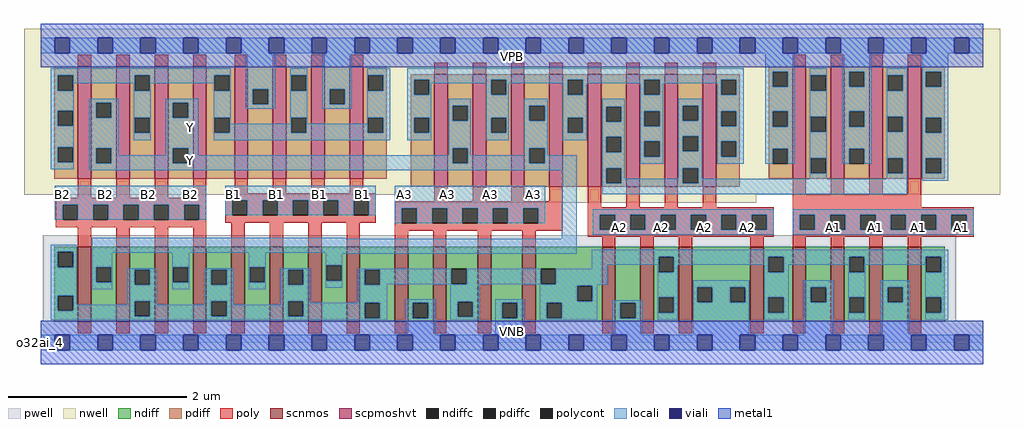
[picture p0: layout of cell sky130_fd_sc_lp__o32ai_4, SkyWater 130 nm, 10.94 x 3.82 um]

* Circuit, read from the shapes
.subckt sky130_fd_sc_lp__o32ai_4 A1 A2 A3 B1 B2 VGND VNB VPB VPWR Y
XM1 Y B2 n1 VNB sky130_fd_pr__nfet_01v8 w=0.84 l=0.15 m=4
XM2 Y B1 n1 VNB sky130_fd_pr__nfet_01v8 w=0.84 l=0.15 m=4
XM3 VGND A3 n1 VNB sky130_fd_pr__nfet_01v8 w=0.84 l=0.15 m=4
XM4 VGND A2 n1 VNB sky130_fd_pr__nfet_01v8 w=0.84 l=0.15 m=4
XM5 VGND A1 n1 VNB sky130_fd_pr__nfet_01v8 w=0.84 l=0.15 m=4
XM6 Y B2 n2 VPB sky130_fd_pr__pfet_01v8_hvt w=1.26 l=0.15 m=4
XM7 VPWR B1 n2 VPB sky130_fd_pr__pfet_01v8_hvt w=1.26 l=0.15 m=4
XM8 Y A3 n3 VPB sky130_fd_pr__pfet_01v8_hvt w=1.26 l=0.15 m=4
XM9 n4 A2 n3 VPB sky130_fd_pr__pfet_01v8_hvt w=1.26 l=0.15 m=4
XM10 n4 A1 VPWR VPB sky130_fd_pr__pfet_01v8_hvt w=1.26 l=0.15 m=4
.ends

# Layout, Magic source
magic
tech sky130A
magscale 1 2
<< nwell >>
rect -38 331 2150 704
rect 793 313 1603 331
<< pwell >>
rect 4 49 2052 241
rect 0 0 2112 49
<< scnmos >>
rect 83 47 113 215
rect 169 47 199 215
rect 255 47 285 215
rect 341 47 371 215
rect 427 47 457 215
rect 513 47 543 215
rect 599 47 629 215
rect 685 47 715 215
rect 793 47 823 215
rect 879 47 909 215
rect 979 47 1009 215
rect 1079 47 1109 215
rect 1258 47 1288 215
rect 1344 47 1374 215
rect 1430 47 1460 215
rect 1590 47 1620 215
rect 1685 47 1715 215
rect 1771 47 1801 215
rect 1857 47 1887 215
rect 1943 47 1973 215
<< scpmoshvt >>
rect 83 367 113 619
rect 169 367 199 619
rect 255 367 285 619
rect 341 367 371 619
rect 434 367 464 619
rect 520 367 550 619
rect 606 367 636 619
rect 692 367 722 619
rect 882 349 912 601
rect 968 349 998 601
rect 1054 349 1084 601
rect 1140 349 1170 601
rect 1226 349 1256 601
rect 1312 349 1342 601
rect 1398 349 1428 601
rect 1484 349 1514 601
rect 1685 367 1715 619
rect 1771 367 1801 619
rect 1857 367 1887 619
rect 1943 367 1973 619
<< ndiff >>
rect 30 203 83 215
rect 30 169 38 203
rect 72 169 83 203
rect 30 105 83 169
rect 30 71 38 105
rect 72 71 83 105
rect 30 47 83 71
rect 113 169 169 215
rect 113 135 124 169
rect 158 135 169 169
rect 113 47 169 135
rect 199 163 255 215
rect 199 129 210 163
rect 244 129 255 163
rect 199 93 255 129
rect 199 59 210 93
rect 244 59 255 93
rect 199 47 255 59
rect 285 169 341 215
rect 285 135 296 169
rect 330 135 341 169
rect 285 47 341 135
rect 371 163 427 215
rect 371 129 382 163
rect 416 129 427 163
rect 371 93 427 129
rect 371 59 382 93
rect 416 59 427 93
rect 371 47 427 59
rect 457 169 513 215
rect 457 135 468 169
rect 502 135 513 169
rect 457 47 513 135
rect 543 163 599 215
rect 543 129 554 163
rect 588 129 599 163
rect 543 93 599 129
rect 543 59 554 93
rect 588 59 599 93
rect 543 47 599 59
rect 629 173 685 215
rect 629 139 640 173
rect 674 139 685 173
rect 629 47 685 139
rect 715 163 793 215
rect 715 129 726 163
rect 760 129 793 163
rect 715 89 793 129
rect 715 55 726 89
rect 760 55 793 89
rect 715 47 793 55
rect 823 89 879 215
rect 823 55 834 89
rect 868 55 879 89
rect 823 47 879 55
rect 909 165 979 215
rect 909 131 920 165
rect 954 131 979 165
rect 909 92 979 131
rect 909 58 934 92
rect 968 58 979 92
rect 909 47 979 58
rect 1009 89 1079 215
rect 1009 55 1034 89
rect 1068 55 1079 89
rect 1009 47 1079 55
rect 1109 165 1258 215
rect 1109 131 1120 165
rect 1154 131 1258 165
rect 1109 127 1258 131
rect 1109 93 1202 127
rect 1236 93 1258 127
rect 1109 89 1258 93
rect 1109 55 1134 89
rect 1168 55 1258 89
rect 1109 47 1258 55
rect 1288 89 1344 215
rect 1288 55 1299 89
rect 1333 55 1344 89
rect 1288 47 1344 55
rect 1374 192 1430 215
rect 1374 158 1385 192
rect 1419 158 1430 192
rect 1374 101 1430 158
rect 1374 67 1385 101
rect 1419 67 1430 101
rect 1374 47 1430 67
rect 1460 124 1590 215
rect 1460 90 1471 124
rect 1505 90 1545 124
rect 1579 90 1590 124
rect 1460 47 1590 90
rect 1620 192 1685 215
rect 1620 158 1631 192
rect 1665 158 1685 192
rect 1620 101 1685 158
rect 1620 67 1631 101
rect 1665 67 1685 101
rect 1620 47 1685 67
rect 1715 124 1771 215
rect 1715 90 1726 124
rect 1760 90 1771 124
rect 1715 47 1771 90
rect 1801 192 1857 215
rect 1801 158 1812 192
rect 1846 158 1857 192
rect 1801 101 1857 158
rect 1801 67 1812 101
rect 1846 67 1857 101
rect 1801 47 1857 67
rect 1887 124 1943 215
rect 1887 90 1898 124
rect 1932 90 1943 124
rect 1887 47 1943 90
rect 1973 192 2026 215
rect 1973 158 1984 192
rect 2018 158 2026 192
rect 1973 101 2026 158
rect 1973 67 1984 101
rect 2018 67 2026 101
rect 1973 47 2026 67
<< pdiff >>
rect 30 599 83 619
rect 30 565 38 599
rect 72 565 83 599
rect 30 520 83 565
rect 30 486 38 520
rect 72 486 83 520
rect 30 438 83 486
rect 30 404 38 438
rect 72 404 83 438
rect 30 367 83 404
rect 113 538 169 619
rect 113 504 124 538
rect 158 504 169 538
rect 113 436 169 504
rect 113 402 124 436
rect 158 402 169 436
rect 113 367 169 402
rect 199 599 255 619
rect 199 565 210 599
rect 244 565 255 599
rect 199 504 255 565
rect 199 470 210 504
rect 244 470 255 504
rect 199 367 255 470
rect 285 538 341 619
rect 285 504 296 538
rect 330 504 341 538
rect 285 436 341 504
rect 285 402 296 436
rect 330 402 341 436
rect 285 367 341 402
rect 371 599 434 619
rect 371 565 389 599
rect 423 565 434 599
rect 371 504 434 565
rect 371 470 389 504
rect 423 470 434 504
rect 371 367 434 470
rect 464 568 520 619
rect 464 534 475 568
rect 509 534 520 568
rect 464 367 520 534
rect 550 599 606 619
rect 550 565 561 599
rect 595 565 606 599
rect 550 504 606 565
rect 550 470 561 504
rect 595 470 606 504
rect 550 367 606 470
rect 636 568 692 619
rect 636 534 647 568
rect 681 534 692 568
rect 636 367 692 534
rect 722 599 775 619
rect 1632 607 1685 619
rect 722 565 733 599
rect 767 565 775 599
rect 722 504 775 565
rect 722 470 733 504
rect 767 470 775 504
rect 722 367 775 470
rect 829 589 882 601
rect 829 555 837 589
rect 871 555 882 589
rect 829 504 882 555
rect 829 470 837 504
rect 871 470 882 504
rect 829 349 882 470
rect 912 531 968 601
rect 912 497 923 531
rect 957 497 968 531
rect 912 436 968 497
rect 912 402 923 436
rect 957 402 968 436
rect 912 349 968 402
rect 998 589 1054 601
rect 998 555 1009 589
rect 1043 555 1054 589
rect 998 504 1054 555
rect 998 470 1009 504
rect 1043 470 1054 504
rect 998 349 1054 470
rect 1084 531 1140 601
rect 1084 497 1095 531
rect 1129 497 1140 531
rect 1084 436 1140 497
rect 1084 402 1095 436
rect 1129 402 1140 436
rect 1084 349 1140 402
rect 1170 589 1226 601
rect 1170 555 1181 589
rect 1215 555 1226 589
rect 1170 504 1226 555
rect 1170 470 1181 504
rect 1215 470 1226 504
rect 1170 349 1226 470
rect 1256 529 1312 601
rect 1256 495 1267 529
rect 1301 495 1312 529
rect 1256 461 1312 495
rect 1256 427 1267 461
rect 1301 427 1312 461
rect 1256 391 1312 427
rect 1256 357 1267 391
rect 1301 357 1312 391
rect 1256 349 1312 357
rect 1342 589 1398 601
rect 1342 555 1353 589
rect 1387 555 1398 589
rect 1342 519 1398 555
rect 1342 485 1353 519
rect 1387 485 1398 519
rect 1342 451 1398 485
rect 1342 417 1353 451
rect 1387 417 1398 451
rect 1342 349 1398 417
rect 1428 531 1484 601
rect 1428 497 1439 531
rect 1473 497 1484 531
rect 1428 463 1484 497
rect 1428 429 1439 463
rect 1473 429 1484 463
rect 1428 391 1484 429
rect 1428 357 1439 391
rect 1473 357 1484 391
rect 1428 349 1484 357
rect 1514 589 1567 601
rect 1514 555 1525 589
rect 1559 555 1567 589
rect 1514 519 1567 555
rect 1514 485 1525 519
rect 1559 485 1567 519
rect 1514 451 1567 485
rect 1514 417 1525 451
rect 1559 417 1567 451
rect 1514 349 1567 417
rect 1632 573 1640 607
rect 1674 573 1685 607
rect 1632 518 1685 573
rect 1632 484 1640 518
rect 1674 484 1685 518
rect 1632 435 1685 484
rect 1632 401 1640 435
rect 1674 401 1685 435
rect 1632 367 1685 401
rect 1715 599 1771 619
rect 1715 565 1726 599
rect 1760 565 1771 599
rect 1715 506 1771 565
rect 1715 472 1726 506
rect 1760 472 1771 506
rect 1715 413 1771 472
rect 1715 379 1726 413
rect 1760 379 1771 413
rect 1715 367 1771 379
rect 1801 607 1857 619
rect 1801 573 1812 607
rect 1846 573 1857 607
rect 1801 518 1857 573
rect 1801 484 1812 518
rect 1846 484 1857 518
rect 1801 435 1857 484
rect 1801 401 1812 435
rect 1846 401 1857 435
rect 1801 367 1857 401
rect 1887 599 1943 619
rect 1887 565 1898 599
rect 1932 565 1943 599
rect 1887 506 1943 565
rect 1887 472 1898 506
rect 1932 472 1943 506
rect 1887 413 1943 472
rect 1887 379 1898 413
rect 1932 379 1943 413
rect 1887 367 1943 379
rect 1973 607 2026 619
rect 1973 573 1984 607
rect 2018 573 2026 607
rect 1973 504 2026 573
rect 1973 470 1984 504
rect 2018 470 2026 504
rect 1973 413 2026 470
rect 1973 379 1984 413
rect 2018 379 2026 413
rect 1973 367 2026 379
<< ndiffc >>
rect 38 169 72 203
rect 38 71 72 105
rect 124 135 158 169
rect 210 129 244 163
rect 210 59 244 93
rect 296 135 330 169
rect 382 129 416 163
rect 382 59 416 93
rect 468 135 502 169
rect 554 129 588 163
rect 554 59 588 93
rect 640 139 674 173
rect 726 129 760 163
rect 726 55 760 89
rect 834 55 868 89
rect 920 131 954 165
rect 934 58 968 92
rect 1034 55 1068 89
rect 1120 131 1154 165
rect 1202 93 1236 127
rect 1134 55 1168 89
rect 1299 55 1333 89
rect 1385 158 1419 192
rect 1385 67 1419 101
rect 1471 90 1505 124
rect 1545 90 1579 124
rect 1631 158 1665 192
rect 1631 67 1665 101
rect 1726 90 1760 124
rect 1812 158 1846 192
rect 1812 67 1846 101
rect 1898 90 1932 124
rect 1984 158 2018 192
rect 1984 67 2018 101
<< pdiffc >>
rect 38 565 72 599
rect 38 486 72 520
rect 38 404 72 438
rect 124 504 158 538
rect 124 402 158 436
rect 210 565 244 599
rect 210 470 244 504
rect 296 504 330 538
rect 296 402 330 436
rect 389 565 423 599
rect 389 470 423 504
rect 475 534 509 568
rect 561 565 595 599
rect 561 470 595 504
rect 647 534 681 568
rect 733 565 767 599
rect 733 470 767 504
rect 837 555 871 589
rect 837 470 871 504
rect 923 497 957 531
rect 923 402 957 436
rect 1009 555 1043 589
rect 1009 470 1043 504
rect 1095 497 1129 531
rect 1095 402 1129 436
rect 1181 555 1215 589
rect 1181 470 1215 504
rect 1267 495 1301 529
rect 1267 427 1301 461
rect 1267 357 1301 391
rect 1353 555 1387 589
rect 1353 485 1387 519
rect 1353 417 1387 451
rect 1439 497 1473 531
rect 1439 429 1473 463
rect 1439 357 1473 391
rect 1525 555 1559 589
rect 1525 485 1559 519
rect 1525 417 1559 451
rect 1640 573 1674 607
rect 1640 484 1674 518
rect 1640 401 1674 435
rect 1726 565 1760 599
rect 1726 472 1760 506
rect 1726 379 1760 413
rect 1812 573 1846 607
rect 1812 484 1846 518
rect 1812 401 1846 435
rect 1898 565 1932 599
rect 1898 472 1932 506
rect 1898 379 1932 413
rect 1984 573 2018 607
rect 1984 470 2018 504
rect 1984 379 2018 413
<< poly >>
rect 83 619 113 645
rect 169 619 199 645
rect 255 619 285 645
rect 341 619 371 645
rect 434 619 464 645
rect 520 619 550 645
rect 606 619 636 645
rect 692 619 722 645
rect 882 601 912 627
rect 968 601 998 627
rect 1054 601 1084 627
rect 1140 601 1170 627
rect 1226 601 1256 627
rect 1312 601 1342 627
rect 1398 601 1428 627
rect 1484 601 1514 627
rect 1685 619 1715 645
rect 1771 619 1801 645
rect 1857 619 1887 645
rect 1943 619 1973 645
rect 83 325 113 367
rect 169 325 199 367
rect 255 325 285 367
rect 341 325 371 367
rect 434 335 464 367
rect 520 335 550 367
rect 606 335 636 367
rect 692 335 722 367
rect 33 309 371 325
rect 33 275 49 309
rect 83 275 117 309
rect 151 275 185 309
rect 219 275 253 309
rect 287 275 321 309
rect 355 275 371 309
rect 33 259 371 275
rect 413 319 751 335
rect 413 285 429 319
rect 463 285 497 319
rect 531 285 565 319
rect 599 285 633 319
rect 667 285 701 319
rect 735 285 751 319
rect 882 317 912 349
rect 968 317 998 349
rect 1054 317 1084 349
rect 1140 317 1170 349
rect 413 269 751 285
rect 793 301 1170 317
rect 83 215 113 259
rect 169 215 199 259
rect 255 215 285 259
rect 341 215 371 259
rect 427 215 457 269
rect 513 215 543 269
rect 599 215 629 269
rect 685 215 715 269
rect 793 267 809 301
rect 843 267 877 301
rect 911 267 945 301
rect 979 267 1013 301
rect 1047 267 1081 301
rect 1115 267 1170 301
rect 793 251 1170 267
rect 1226 303 1256 349
rect 1312 303 1342 349
rect 1398 303 1428 349
rect 1484 303 1514 349
rect 1685 333 1715 367
rect 1771 333 1801 367
rect 1857 333 1887 367
rect 1943 333 1973 367
rect 1685 303 1973 333
rect 1226 287 1643 303
rect 1226 253 1253 287
rect 1287 253 1321 287
rect 1355 253 1389 287
rect 1423 253 1457 287
rect 1491 253 1525 287
rect 1559 253 1593 287
rect 1627 253 1643 287
rect 793 215 823 251
rect 879 215 909 251
rect 979 215 1009 251
rect 1079 215 1109 251
rect 1226 237 1643 253
rect 1685 287 2091 303
rect 1685 253 1701 287
rect 1735 253 1769 287
rect 1803 253 1837 287
rect 1871 253 1905 287
rect 1939 253 1973 287
rect 2007 253 2041 287
rect 2075 253 2091 287
rect 1685 237 2091 253
rect 1258 215 1288 237
rect 1344 215 1374 237
rect 1430 215 1460 237
rect 1590 215 1620 237
rect 1685 215 1715 237
rect 1771 215 1801 237
rect 1857 215 1887 237
rect 1943 215 1973 237
rect 83 21 113 47
rect 169 21 199 47
rect 255 21 285 47
rect 341 21 371 47
rect 427 21 457 47
rect 513 21 543 47
rect 599 21 629 47
rect 685 21 715 47
rect 793 21 823 47
rect 879 21 909 47
rect 979 21 1009 47
rect 1079 21 1109 47
rect 1258 21 1288 47
rect 1344 21 1374 47
rect 1430 21 1460 47
rect 1590 21 1620 47
rect 1685 21 1715 47
rect 1771 21 1801 47
rect 1857 21 1887 47
rect 1943 21 1973 47
<< polycont >>
rect 49 275 83 309
rect 117 275 151 309
rect 185 275 219 309
rect 253 275 287 309
rect 321 275 355 309
rect 429 285 463 319
rect 497 285 531 319
rect 565 285 599 319
rect 633 285 667 319
rect 701 285 735 319
rect 809 267 843 301
rect 877 267 911 301
rect 945 267 979 301
rect 1013 267 1047 301
rect 1081 267 1115 301
rect 1253 253 1287 287
rect 1321 253 1355 287
rect 1389 253 1423 287
rect 1457 253 1491 287
rect 1525 253 1559 287
rect 1593 253 1627 287
rect 1701 253 1735 287
rect 1769 253 1803 287
rect 1837 253 1871 287
rect 1905 253 1939 287
rect 1973 253 2007 287
rect 2041 253 2075 287
<< locali >>
rect 0 649 31 683
rect 65 649 127 683
rect 161 649 223 683
rect 257 649 319 683
rect 353 649 415 683
rect 449 649 511 683
rect 545 649 607 683
rect 641 649 703 683
rect 737 649 799 683
rect 833 649 895 683
rect 929 649 991 683
rect 1025 649 1087 683
rect 1121 649 1183 683
rect 1217 649 1279 683
rect 1313 649 1375 683
rect 1409 649 1471 683
rect 1505 649 1567 683
rect 1601 649 1663 683
rect 1697 649 1759 683
rect 1793 649 1855 683
rect 1889 649 1951 683
rect 1985 649 2047 683
rect 2081 649 2112 683
rect 22 599 425 615
rect 22 565 38 599
rect 72 581 210 599
rect 72 565 74 581
rect 22 520 74 565
rect 208 565 210 581
rect 244 581 389 599
rect 244 565 246 581
rect 22 486 38 520
rect 72 486 74 520
rect 22 438 74 486
rect 22 404 38 438
rect 72 404 74 438
rect 22 388 74 404
rect 108 538 174 547
rect 108 504 124 538
rect 158 504 174 538
rect 108 436 174 504
rect 208 504 246 565
rect 387 565 389 581
rect 423 565 425 599
rect 208 470 210 504
rect 244 470 246 504
rect 208 454 246 470
rect 280 538 353 547
rect 280 504 296 538
rect 330 504 353 538
rect 108 402 124 436
rect 158 420 174 436
rect 280 436 353 504
rect 387 504 425 565
rect 459 568 525 649
rect 459 534 475 568
rect 509 534 525 568
rect 459 524 525 534
rect 559 599 597 615
rect 559 565 561 599
rect 595 565 597 599
rect 387 470 389 504
rect 423 490 425 504
rect 559 504 597 565
rect 631 568 697 649
rect 631 534 647 568
rect 681 534 697 568
rect 631 524 697 534
rect 731 599 783 615
rect 731 565 733 599
rect 767 565 783 599
rect 559 490 561 504
rect 423 470 561 490
rect 595 490 597 504
rect 731 504 783 565
rect 731 490 733 504
rect 595 470 733 490
rect 767 470 783 504
rect 387 454 783 470
rect 821 589 1575 615
rect 821 555 837 589
rect 871 581 1009 589
rect 871 555 875 581
rect 821 504 875 555
rect 998 555 1009 581
rect 1043 581 1181 589
rect 1043 555 1049 581
rect 821 470 837 504
rect 871 470 875 504
rect 821 454 875 470
rect 914 531 964 547
rect 914 497 923 531
rect 957 497 964 531
rect 280 420 296 436
rect 158 402 296 420
rect 330 420 353 436
rect 914 436 964 497
rect 998 504 1049 555
rect 1170 555 1181 581
rect 1215 581 1353 589
rect 1215 555 1224 581
rect 998 470 1009 504
rect 1043 470 1049 504
rect 998 454 1049 470
rect 1083 531 1136 547
rect 1083 497 1095 531
rect 1129 497 1136 531
rect 914 420 923 436
rect 330 402 923 420
rect 957 420 964 436
rect 1083 436 1136 497
rect 1170 504 1224 555
rect 1343 555 1353 581
rect 1387 581 1525 589
rect 1387 555 1395 581
rect 1170 470 1181 504
rect 1215 470 1224 504
rect 1170 454 1224 470
rect 1258 529 1309 547
rect 1258 495 1267 529
rect 1301 495 1309 529
rect 1258 461 1309 495
rect 1083 420 1095 436
rect 957 402 1095 420
rect 1129 420 1136 436
rect 1258 427 1267 461
rect 1301 427 1309 461
rect 1129 402 1201 420
rect 108 386 1201 402
rect 31 309 371 352
rect 31 275 49 309
rect 83 275 117 309
rect 151 275 185 309
rect 219 275 253 309
rect 287 275 321 309
rect 355 275 371 309
rect 413 319 751 352
rect 413 285 429 319
rect 463 285 497 319
rect 531 285 565 319
rect 599 285 633 319
rect 667 285 701 319
rect 735 285 751 319
rect 793 301 1131 352
rect 793 267 809 301
rect 843 267 877 301
rect 911 267 945 301
rect 979 267 1013 301
rect 1047 267 1081 301
rect 1115 267 1131 301
rect 114 233 682 235
rect 1167 233 1201 386
rect 1258 391 1309 427
rect 1343 519 1395 555
rect 1516 555 1525 581
rect 1559 555 1575 589
rect 1343 485 1353 519
rect 1387 485 1395 519
rect 1343 451 1395 485
rect 1343 417 1353 451
rect 1387 417 1395 451
rect 1343 401 1395 417
rect 1429 531 1482 547
rect 1429 497 1439 531
rect 1473 497 1482 531
rect 1429 463 1482 497
rect 1429 429 1439 463
rect 1473 429 1482 463
rect 1258 357 1267 391
rect 1301 367 1309 391
rect 1429 391 1482 429
rect 1516 519 1575 555
rect 1516 485 1525 519
rect 1559 485 1575 519
rect 1516 451 1575 485
rect 1516 417 1525 451
rect 1559 417 1575 451
rect 1516 401 1575 417
rect 1624 607 1690 649
rect 1624 573 1640 607
rect 1674 573 1690 607
rect 1624 518 1690 573
rect 1624 484 1640 518
rect 1674 484 1690 518
rect 1624 435 1690 484
rect 1624 401 1640 435
rect 1674 401 1690 435
rect 1724 599 1762 615
rect 1724 565 1726 599
rect 1760 565 1762 599
rect 1724 506 1762 565
rect 1724 472 1726 506
rect 1760 472 1762 506
rect 1724 413 1762 472
rect 1429 367 1439 391
rect 1301 357 1439 367
rect 1473 367 1482 391
rect 1724 379 1726 413
rect 1760 379 1762 413
rect 1796 607 1862 649
rect 1796 573 1812 607
rect 1846 573 1862 607
rect 1796 518 1862 573
rect 1796 484 1812 518
rect 1846 484 1862 518
rect 1796 435 1862 484
rect 1796 401 1812 435
rect 1846 401 1862 435
rect 1896 599 1942 615
rect 1896 565 1898 599
rect 1932 565 1942 599
rect 1896 506 1942 565
rect 1896 472 1898 506
rect 1932 472 1942 506
rect 1896 413 1942 472
rect 1724 367 1762 379
rect 1896 379 1898 413
rect 1932 379 1942 413
rect 1896 367 1942 379
rect 1473 357 1942 367
rect 1976 607 2034 649
rect 1976 573 1984 607
rect 2018 573 2034 607
rect 1976 504 2034 573
rect 1976 470 1984 504
rect 2018 470 2034 504
rect 1976 413 2034 470
rect 1976 379 1984 413
rect 2018 379 2034 413
rect 1976 363 2034 379
rect 1258 333 1942 357
rect 1237 287 1643 299
rect 1237 253 1253 287
rect 1287 253 1321 287
rect 1355 253 1389 287
rect 1423 253 1457 287
rect 1491 253 1525 287
rect 1559 253 1593 287
rect 1627 253 1643 287
rect 1237 242 1643 253
rect 1685 287 2091 299
rect 1685 253 1701 287
rect 1735 253 1769 287
rect 1803 253 1837 287
rect 1871 253 1905 287
rect 1939 253 1973 287
rect 2007 253 2041 287
rect 2075 253 2091 287
rect 1685 242 2091 253
rect 22 203 80 219
rect 22 169 38 203
rect 72 169 80 203
rect 22 105 80 169
rect 114 201 1201 233
rect 114 169 160 201
rect 114 135 124 169
rect 158 135 160 169
rect 294 169 332 201
rect 114 119 160 135
rect 194 163 260 167
rect 194 129 210 163
rect 244 129 260 163
rect 22 71 38 105
rect 72 85 80 105
rect 194 93 260 129
rect 294 135 296 169
rect 330 135 332 169
rect 466 169 504 201
rect 294 119 332 135
rect 366 163 432 167
rect 366 129 382 163
rect 416 129 432 163
rect 194 85 210 93
rect 72 71 210 85
rect 22 59 210 71
rect 244 85 260 93
rect 366 93 432 129
rect 466 135 468 169
rect 502 135 504 169
rect 638 199 1201 201
rect 638 173 676 199
rect 466 119 504 135
rect 538 163 604 167
rect 538 129 554 163
rect 588 129 604 163
rect 366 85 382 93
rect 244 59 382 85
rect 416 85 432 93
rect 538 93 604 129
rect 638 139 640 173
rect 674 139 676 173
rect 1235 192 2034 208
rect 1235 174 1385 192
rect 1235 165 1269 174
rect 638 123 676 139
rect 710 163 920 165
rect 710 129 726 163
rect 760 131 920 163
rect 954 131 1120 165
rect 1154 131 1269 165
rect 760 129 776 131
rect 538 85 554 93
rect 416 59 554 85
rect 588 89 604 93
rect 710 89 776 129
rect 588 59 726 89
rect 22 55 726 59
rect 760 55 776 89
rect 22 51 776 55
rect 818 89 884 97
rect 818 55 834 89
rect 868 55 884 89
rect 818 17 884 55
rect 918 92 984 131
rect 1118 129 1269 131
rect 1383 158 1385 174
rect 1419 174 1631 192
rect 1419 158 1428 174
rect 1118 127 1247 129
rect 918 58 934 92
rect 968 58 984 92
rect 918 51 984 58
rect 1018 89 1084 97
rect 1018 55 1034 89
rect 1068 55 1084 89
rect 1018 17 1084 55
rect 1118 93 1202 127
rect 1236 93 1247 127
rect 1383 101 1428 158
rect 1622 158 1631 174
rect 1665 174 1812 192
rect 1665 158 1676 174
rect 1118 89 1247 93
rect 1118 55 1134 89
rect 1168 55 1247 89
rect 1118 51 1247 55
rect 1281 89 1349 95
rect 1281 55 1299 89
rect 1333 55 1349 89
rect 1281 17 1349 55
rect 1383 67 1385 101
rect 1419 67 1428 101
rect 1383 51 1428 67
rect 1462 124 1588 140
rect 1462 90 1471 124
rect 1505 90 1545 124
rect 1579 90 1588 124
rect 1462 17 1588 90
rect 1622 101 1676 158
rect 1810 158 1812 174
rect 1846 174 1984 192
rect 1846 158 1848 174
rect 1622 67 1631 101
rect 1665 67 1676 101
rect 1622 51 1676 67
rect 1710 124 1776 140
rect 1710 90 1726 124
rect 1760 90 1776 124
rect 1710 17 1776 90
rect 1810 101 1848 158
rect 1982 158 1984 174
rect 2018 158 2034 192
rect 1810 67 1812 101
rect 1846 67 1848 101
rect 1810 51 1848 67
rect 1882 124 1948 140
rect 1882 90 1898 124
rect 1932 90 1948 124
rect 1882 17 1948 90
rect 1982 101 2034 158
rect 1982 67 1984 101
rect 2018 67 2034 101
rect 1982 51 2034 67
rect 0 -17 31 17
rect 65 -17 127 17
rect 161 -17 223 17
rect 257 -17 319 17
rect 353 -17 415 17
rect 449 -17 511 17
rect 545 -17 607 17
rect 641 -17 703 17
rect 737 -17 799 17
rect 833 -17 895 17
rect 929 -17 991 17
rect 1025 -17 1087 17
rect 1121 -17 1183 17
rect 1217 -17 1279 17
rect 1313 -17 1375 17
rect 1409 -17 1471 17
rect 1505 -17 1567 17
rect 1601 -17 1663 17
rect 1697 -17 1759 17
rect 1793 -17 1855 17
rect 1889 -17 1951 17
rect 1985 -17 2047 17
rect 2081 -17 2112 17
<< viali >>
rect 31 649 65 683
rect 127 649 161 683
rect 223 649 257 683
rect 319 649 353 683
rect 415 649 449 683
rect 511 649 545 683
rect 607 649 641 683
rect 703 649 737 683
rect 799 649 833 683
rect 895 649 929 683
rect 991 649 1025 683
rect 1087 649 1121 683
rect 1183 649 1217 683
rect 1279 649 1313 683
rect 1375 649 1409 683
rect 1471 649 1505 683
rect 1567 649 1601 683
rect 1663 649 1697 683
rect 1759 649 1793 683
rect 1855 649 1889 683
rect 1951 649 1985 683
rect 2047 649 2081 683
rect 31 -17 65 17
rect 127 -17 161 17
rect 223 -17 257 17
rect 319 -17 353 17
rect 415 -17 449 17
rect 511 -17 545 17
rect 607 -17 641 17
rect 703 -17 737 17
rect 799 -17 833 17
rect 895 -17 929 17
rect 991 -17 1025 17
rect 1087 -17 1121 17
rect 1183 -17 1217 17
rect 1279 -17 1313 17
rect 1375 -17 1409 17
rect 1471 -17 1505 17
rect 1567 -17 1601 17
rect 1663 -17 1697 17
rect 1759 -17 1793 17
rect 1855 -17 1889 17
rect 1951 -17 1985 17
rect 2047 -17 2081 17
<< metal1 >>
rect 0 683 2112 715
rect 0 649 31 683
rect 65 649 127 683
rect 161 649 223 683
rect 257 649 319 683
rect 353 649 415 683
rect 449 649 511 683
rect 545 649 607 683
rect 641 649 703 683
rect 737 649 799 683
rect 833 649 895 683
rect 929 649 991 683
rect 1025 649 1087 683
rect 1121 649 1183 683
rect 1217 649 1279 683
rect 1313 649 1375 683
rect 1409 649 1471 683
rect 1505 649 1567 683
rect 1601 649 1663 683
rect 1697 649 1759 683
rect 1793 649 1855 683
rect 1889 649 1951 683
rect 1985 649 2047 683
rect 2081 649 2112 683
rect 0 617 2112 649
rect 0 17 2112 49
rect 0 -17 31 17
rect 65 -17 127 17
rect 161 -17 223 17
rect 257 -17 319 17
rect 353 -17 415 17
rect 449 -17 511 17
rect 545 -17 607 17
rect 641 -17 703 17
rect 737 -17 799 17
rect 833 -17 895 17
rect 929 -17 991 17
rect 1025 -17 1087 17
rect 1121 -17 1183 17
rect 1217 -17 1279 17
rect 1313 -17 1375 17
rect 1409 -17 1471 17
rect 1505 -17 1567 17
rect 1601 -17 1663 17
rect 1697 -17 1759 17
rect 1793 -17 1855 17
rect 1889 -17 1951 17
rect 1985 -17 2047 17
rect 2081 -17 2112 17
rect 0 -49 2112 -17
<< labels >>
flabel pwell s 0 0 2112 49 0 FreeSans 200 0 0 0 VNB
port 7 nsew ground bidirectional
flabel nwell s 0 617 2112 666 0 FreeSans 200 0 0 0 VPB
port 8 nsew power bidirectional
rlabel comment s 0 0 0 0 4 o32ai_4
flabel metal1 s 0 617 2112 666 0 FreeSans 340 0 0 0 VPWR
port 9 nsew power bidirectional
flabel metal1 s 0 0 2112 49 0 FreeSans 340 0 0 0 VGND
port 6 nsew ground bidirectional
flabel locali s 1759 242 1793 276 0 FreeSans 340 0 0 0 A1
port 1 nsew signal input
flabel locali s 1855 242 1889 276 0 FreeSans 340 0 0 0 A1
port 1 nsew signal input
flabel locali s 1951 242 1985 276 0 FreeSans 340 0 0 0 A1
port 1 nsew signal input
flabel locali s 2047 242 2081 276 0 FreeSans 340 0 0 0 A1
port 1 nsew signal input
flabel locali s 1279 242 1313 276 0 FreeSans 340 0 0 0 A2
port 2 nsew signal input
flabel locali s 1375 242 1409 276 0 FreeSans 340 0 0 0 A2
port 2 nsew signal input
flabel locali s 1471 242 1505 276 0 FreeSans 340 0 0 0 A2
port 2 nsew signal input
flabel locali s 1567 242 1601 276 0 FreeSans 340 0 0 0 A2
port 2 nsew signal input
flabel locali s 799 316 833 350 0 FreeSans 340 0 0 0 A3
port 3 nsew signal input
flabel locali s 895 316 929 350 0 FreeSans 340 0 0 0 A3
port 3 nsew signal input
flabel locali s 991 316 1025 350 0 FreeSans 340 0 0 0 A3
port 3 nsew signal input
flabel locali s 1087 316 1121 350 0 FreeSans 340 0 0 0 A3
port 3 nsew signal input
flabel locali s 415 316 449 350 0 FreeSans 340 0 0 0 B1
port 4 nsew signal input
flabel locali s 511 316 545 350 0 FreeSans 340 0 0 0 B1
port 4 nsew signal input
flabel locali s 607 316 641 350 0 FreeSans 340 0 0 0 B1
port 4 nsew signal input
flabel locali s 703 316 737 350 0 FreeSans 340 0 0 0 B1
port 4 nsew signal input
flabel locali s 31 316 65 350 0 FreeSans 340 0 0 0 B2
port 5 nsew signal input
flabel locali s 127 316 161 350 0 FreeSans 340 0 0 0 B2
port 5 nsew signal input
flabel locali s 223 316 257 350 0 FreeSans 340 0 0 0 B2
port 5 nsew signal input
flabel locali s 319 316 353 350 0 FreeSans 340 0 0 0 B2
port 5 nsew signal input
flabel locali s 319 390 353 424 0 FreeSans 340 0 0 0 Y
port 10 nsew signal output
flabel locali s 319 464 353 498 0 FreeSans 340 0 0 0 Y
port 10 nsew signal output
<< properties >>
string LEFsite unit
string LEFclass CORE
string FIXED_BBOX 0 0 2112 666
string GDS_FILE $PDKPATH/libs.ref/sky130_fd_sc_lp/gds/sky130_fd_sc_lp.gds
string LEFsymmetry X Y R90
string GDS_END 1858158
string GDS_START 1839964
<< end >>
